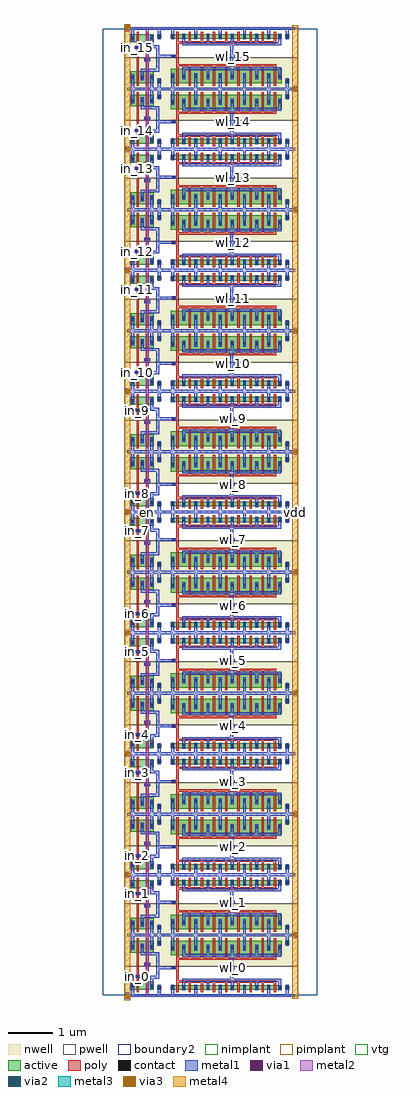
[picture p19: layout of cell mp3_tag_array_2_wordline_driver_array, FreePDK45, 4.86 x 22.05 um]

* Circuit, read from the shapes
.subckt mp3_tag_array_2_wordline_driver_array en gnd in_0 in_1 in_10 in_11 in_12 in_13 in_14 in_15 in_2 in_3 in_4 in_5 in_6 in_7 in_8 in_9 vdd wl_0 wl_1 wl_10 wl_11 wl_12 wl_13 wl_14 wl_15 wl_2 wl_3 wl_4 wl_5 wl_6 wl_7 wl_8 wl_9
M1 mp3_tag_array_2_wordline_driver_0/mp3_tag_array_2_pnand2_0/mp3_tag_array_2_nmos_m1_w0_180_sm1_dactive_2/D in_0 gnd gnd nfet w=0.18u l=0.05u
M2 mp3_tag_array_2_wordline_driver_1/mp3_tag_array_2_pnand2_0/mp3_tag_array_2_nmos_m1_w0_180_sm1_dactive_2/D in_1 gnd gnd nfet w=0.18u l=0.05u
M3 mp3_tag_array_2_wordline_driver_2/mp3_tag_array_2_pnand2_0/mp3_tag_array_2_nmos_m1_w0_180_sm1_dactive_2/D in_2 gnd gnd nfet w=0.18u l=0.05u
M4 mp3_tag_array_2_wordline_driver_3/mp3_tag_array_2_pnand2_0/mp3_tag_array_2_nmos_m1_w0_180_sm1_dactive_2/D in_3 gnd gnd nfet w=0.18u l=0.05u
M5 mp3_tag_array_2_wordline_driver_4/mp3_tag_array_2_pnand2_0/mp3_tag_array_2_nmos_m1_w0_180_sm1_dactive_2/D in_4 gnd gnd nfet w=0.18u l=0.05u
M6 mp3_tag_array_2_wordline_driver_5/mp3_tag_array_2_pnand2_0/mp3_tag_array_2_nmos_m1_w0_180_sm1_dactive_2/D in_5 gnd gnd nfet w=0.18u l=0.05u
M7 mp3_tag_array_2_wordline_driver_6/mp3_tag_array_2_pnand2_0/mp3_tag_array_2_nmos_m1_w0_180_sm1_dactive_2/D in_6 gnd gnd nfet w=0.18u l=0.05u
M8 mp3_tag_array_2_wordline_driver_7/mp3_tag_array_2_pnand2_0/mp3_tag_array_2_nmos_m1_w0_180_sm1_dactive_2/D in_7 gnd gnd nfet w=0.18u l=0.05u
M9 mp3_tag_array_2_wordline_driver_8/mp3_tag_array_2_pnand2_0/mp3_tag_array_2_nmos_m1_w0_180_sm1_dactive_2/D in_8 gnd gnd nfet w=0.18u l=0.05u
M10 mp3_tag_array_2_wordline_driver_9/mp3_tag_array_2_pnand2_0/mp3_tag_array_2_nmos_m1_w0_180_sm1_dactive_2/D in_9 gnd gnd nfet w=0.18u l=0.05u
M11 mp3_tag_array_2_wordline_driver_10/mp3_tag_array_2_pnand2_0/mp3_tag_array_2_nmos_m1_w0_180_sm1_dactive_2/D in_10 gnd gnd nfet w=0.18u l=0.05u
M12 mp3_tag_array_2_wordline_driver_11/mp3_tag_array_2_pnand2_0/mp3_tag_array_2_nmos_m1_w0_180_sm1_dactive_2/D in_11 gnd gnd nfet w=0.18u l=0.05u
M13 mp3_tag_array_2_wordline_driver_12/mp3_tag_array_2_pnand2_0/mp3_tag_array_2_nmos_m1_w0_180_sm1_dactive_2/D in_12 gnd gnd nfet w=0.18u l=0.05u
M14 mp3_tag_array_2_wordline_driver_13/mp3_tag_array_2_pnand2_0/mp3_tag_array_2_nmos_m1_w0_180_sm1_dactive_2/D in_13 gnd gnd nfet w=0.18u l=0.05u
M15 mp3_tag_array_2_wordline_driver_14/mp3_tag_array_2_pnand2_0/mp3_tag_array_2_nmos_m1_w0_180_sm1_dactive_2/D in_14 gnd gnd nfet w=0.18u l=0.05u
M16 mp3_tag_array_2_wordline_driver_15/mp3_tag_array_2_pnand2_0/mp3_tag_array_2_nmos_m1_w0_180_sm1_dactive_2/D in_15 gnd gnd nfet w=0.18u l=0.05u
M17 mp3_tag_array_2_wordline_driver_0/mp3_tag_array_2_pinv_0_1/A en mp3_tag_array_2_wordline_driver_0/mp3_tag_array_2_pnand2_0/mp3_tag_array_2_nmos_m1_w0_180_sm1_dactive_2/D gnd nfet w=0.18u l=0.05u
M18 mp3_tag_array_2_wordline_driver_1/mp3_tag_array_2_pinv_0_1/A en mp3_tag_array_2_wordline_driver_1/mp3_tag_array_2_pnand2_0/mp3_tag_array_2_nmos_m1_w0_180_sm1_dactive_2/D gnd nfet w=0.18u l=0.05u
M19 mp3_tag_array_2_wordline_driver_2/mp3_tag_array_2_pinv_0_1/A en mp3_tag_array_2_wordline_driver_2/mp3_tag_array_2_pnand2_0/mp3_tag_array_2_nmos_m1_w0_180_sm1_dactive_2/D gnd nfet w=0.18u l=0.05u
M20 mp3_tag_array_2_wordline_driver_3/mp3_tag_array_2_pinv_0_1/A en mp3_tag_array_2_wordline_driver_3/mp3_tag_array_2_pnand2_0/mp3_tag_array_2_nmos_m1_w0_180_sm1_dactive_2/D gnd nfet w=0.18u l=0.05u
M21 mp3_tag_array_2_wordline_driver_4/mp3_tag_array_2_pinv_0_1/A en mp3_tag_array_2_wordline_driver_4/mp3_tag_array_2_pnand2_0/mp3_tag_array_2_nmos_m1_w0_180_sm1_dactive_2/D gnd nfet w=0.18u l=0.05u
M22 mp3_tag_array_2_wordline_driver_5/mp3_tag_array_2_pinv_0_1/A en mp3_tag_array_2_wordline_driver_5/mp3_tag_array_2_pnand2_0/mp3_tag_array_2_nmos_m1_w0_180_sm1_dactive_2/D gnd nfet w=0.18u l=0.05u
M23 mp3_tag_array_2_wordline_driver_6/mp3_tag_array_2_pinv_0_1/A en mp3_tag_array_2_wordline_driver_6/mp3_tag_array_2_pnand2_0/mp3_tag_array_2_nmos_m1_w0_180_sm1_dactive_2/D gnd nfet w=0.18u l=0.05u
M24 mp3_tag_array_2_wordline_driver_7/mp3_tag_array_2_pinv_0_1/A en mp3_tag_array_2_wordline_driver_7/mp3_tag_array_2_pnand2_0/mp3_tag_array_2_nmos_m1_w0_180_sm1_dactive_2/D gnd nfet w=0.18u l=0.05u
M25 mp3_tag_array_2_wordline_driver_8/mp3_tag_array_2_pinv_0_1/A en mp3_tag_array_2_wordline_driver_8/mp3_tag_array_2_pnand2_0/mp3_tag_array_2_nmos_m1_w0_180_sm1_dactive_2/D gnd nfet w=0.18u l=0.05u
M26 mp3_tag_array_2_wordline_driver_9/mp3_tag_array_2_pinv_0_1/A en mp3_tag_array_2_wordline_driver_9/mp3_tag_array_2_pnand2_0/mp3_tag_array_2_nmos_m1_w0_180_sm1_dactive_2/D gnd nfet w=0.18u l=0.05u
M27 mp3_tag_array_2_wordline_driver_10/mp3_tag_array_2_pinv_0_1/A en mp3_tag_array_2_wordline_driver_10/mp3_tag_array_2_pnand2_0/mp3_tag_array_2_nmos_m1_w0_180_sm1_dactive_2/D gnd nfet w=0.18u l=0.05u
M28 mp3_tag_array_2_wordline_driver_11/mp3_tag_array_2_pinv_0_1/A en mp3_tag_array_2_wordline_driver_11/mp3_tag_array_2_pnand2_0/mp3_tag_array_2_nmos_m1_w0_180_sm1_dactive_2/D gnd nfet w=0.18u l=0.05u
M29 mp3_tag_array_2_wordline_driver_12/mp3_tag_array_2_pinv_0_1/A en mp3_tag_array_2_wordline_driver_12/mp3_tag_array_2_pnand2_0/mp3_tag_array_2_nmos_m1_w0_180_sm1_dactive_2/D gnd nfet w=0.18u l=0.05u
M30 mp3_tag_array_2_wordline_driver_13/mp3_tag_array_2_pinv_0_1/A en mp3_tag_array_2_wordline_driver_13/mp3_tag_array_2_pnand2_0/mp3_tag_array_2_nmos_m1_w0_180_sm1_dactive_2/D gnd nfet w=0.18u l=0.05u
M31 mp3_tag_array_2_wordline_driver_14/mp3_tag_array_2_pinv_0_1/A en mp3_tag_array_2_wordline_driver_14/mp3_tag_array_2_pnand2_0/mp3_tag_array_2_nmos_m1_w0_180_sm1_dactive_2/D gnd nfet w=0.18u l=0.05u
M32 mp3_tag_array_2_wordline_driver_15/mp3_tag_array_2_pinv_0_1/A en mp3_tag_array_2_wordline_driver_15/mp3_tag_array_2_pnand2_0/mp3_tag_array_2_nmos_m1_w0_180_sm1_dactive_2/D gnd nfet w=0.18u l=0.05u
M33 wl_0 mp3_tag_array_2_wordline_driver_0/mp3_tag_array_2_pinv_0_1/A gnd gnd nfet w=0.11u l=0.05u m=9
M34 wl_1 mp3_tag_array_2_wordline_driver_1/mp3_tag_array_2_pinv_0_1/A gnd gnd nfet w=0.11u l=0.05u m=9
M35 wl_2 mp3_tag_array_2_wordline_driver_2/mp3_tag_array_2_pinv_0_1/A gnd gnd nfet w=0.11u l=0.05u m=9
M36 wl_3 mp3_tag_array_2_wordline_driver_3/mp3_tag_array_2_pinv_0_1/A gnd gnd nfet w=0.11u l=0.05u m=9
M37 wl_4 mp3_tag_array_2_wordline_driver_4/mp3_tag_array_2_pinv_0_1/A gnd gnd nfet w=0.11u l=0.05u m=9
M38 wl_5 mp3_tag_array_2_wordline_driver_5/mp3_tag_array_2_pinv_0_1/A gnd gnd nfet w=0.11u l=0.05u m=9
M39 wl_6 mp3_tag_array_2_wordline_driver_6/mp3_tag_array_2_pinv_0_1/A gnd gnd nfet w=0.11u l=0.05u m=9
M40 wl_7 mp3_tag_array_2_wordline_driver_7/mp3_tag_array_2_pinv_0_1/A gnd gnd nfet w=0.11u l=0.05u m=9
M41 wl_8 mp3_tag_array_2_wordline_driver_8/mp3_tag_array_2_pinv_0_1/A gnd gnd nfet w=0.11u l=0.05u m=9
M42 wl_9 mp3_tag_array_2_wordline_driver_9/mp3_tag_array_2_pinv_0_1/A gnd gnd nfet w=0.11u l=0.05u m=9
M43 wl_10 mp3_tag_array_2_wordline_driver_10/mp3_tag_array_2_pinv_0_1/A gnd gnd nfet w=0.11u l=0.05u m=9
M44 wl_11 mp3_tag_array_2_wordline_driver_11/mp3_tag_array_2_pinv_0_1/A gnd gnd nfet w=0.11u l=0.05u m=9
M45 wl_12 mp3_tag_array_2_wordline_driver_12/mp3_tag_array_2_pinv_0_1/A gnd gnd nfet w=0.11u l=0.05u m=9
M46 wl_13 mp3_tag_array_2_wordline_driver_13/mp3_tag_array_2_pinv_0_1/A gnd gnd nfet w=0.11u l=0.05u m=9
M47 wl_14 mp3_tag_array_2_wordline_driver_14/mp3_tag_array_2_pinv_0_1/A gnd gnd nfet w=0.11u l=0.05u m=9
M48 wl_15 mp3_tag_array_2_wordline_driver_15/mp3_tag_array_2_pinv_0_1/A gnd gnd nfet w=0.11u l=0.05u m=9
M49 mp3_tag_array_2_wordline_driver_0/mp3_tag_array_2_pinv_0_1/A in_0 vdd vdd pfet w=0.27u l=0.05u
M50 mp3_tag_array_2_wordline_driver_1/mp3_tag_array_2_pinv_0_1/A in_1 vdd vdd pfet w=0.27u l=0.05u
M51 mp3_tag_array_2_wordline_driver_2/mp3_tag_array_2_pinv_0_1/A in_2 vdd vdd pfet w=0.27u l=0.05u
M52 mp3_tag_array_2_wordline_driver_3/mp3_tag_array_2_pinv_0_1/A in_3 vdd vdd pfet w=0.27u l=0.05u
M53 mp3_tag_array_2_wordline_driver_4/mp3_tag_array_2_pinv_0_1/A in_4 vdd vdd pfet w=0.27u l=0.05u
M54 mp3_tag_array_2_wordline_driver_5/mp3_tag_array_2_pinv_0_1/A in_5 vdd vdd pfet w=0.27u l=0.05u
M55 mp3_tag_array_2_wordline_driver_6/mp3_tag_array_2_pinv_0_1/A in_6 vdd vdd pfet w=0.27u l=0.05u
M56 mp3_tag_array_2_wordline_driver_7/mp3_tag_array_2_pinv_0_1/A in_7 vdd vdd pfet w=0.27u l=0.05u
M57 mp3_tag_array_2_wordline_driver_8/mp3_tag_array_2_pinv_0_1/A in_8 vdd vdd pfet w=0.27u l=0.05u
M58 mp3_tag_array_2_wordline_driver_9/mp3_tag_array_2_pinv_0_1/A in_9 vdd vdd pfet w=0.27u l=0.05u
M59 mp3_tag_array_2_wordline_driver_10/mp3_tag_array_2_pinv_0_1/A in_10 vdd vdd pfet w=0.27u l=0.05u
M60 mp3_tag_array_2_wordline_driver_11/mp3_tag_array_2_pinv_0_1/A in_11 vdd vdd pfet w=0.27u l=0.05u
M61 mp3_tag_array_2_wordline_driver_12/mp3_tag_array_2_pinv_0_1/A in_12 vdd vdd pfet w=0.27u l=0.05u
M62 mp3_tag_array_2_wordline_driver_13/mp3_tag_array_2_pinv_0_1/A in_13 vdd vdd pfet w=0.27u l=0.05u
M63 mp3_tag_array_2_wordline_driver_14/mp3_tag_array_2_pinv_0_1/A in_14 vdd vdd pfet w=0.27u l=0.05u
M64 mp3_tag_array_2_wordline_driver_15/mp3_tag_array_2_pinv_0_1/A in_15 vdd vdd pfet w=0.27u l=0.05u
M65 vdd en mp3_tag_array_2_wordline_driver_0/mp3_tag_array_2_pinv_0_1/A vdd pfet w=0.27u l=0.05u
M66 vdd en mp3_tag_array_2_wordline_driver_1/mp3_tag_array_2_pinv_0_1/A vdd pfet w=0.27u l=0.05u
M67 vdd en mp3_tag_array_2_wordline_driver_2/mp3_tag_array_2_pinv_0_1/A vdd pfet w=0.27u l=0.05u
M68 vdd en mp3_tag_array_2_wordline_driver_3/mp3_tag_array_2_pinv_0_1/A vdd pfet w=0.27u l=0.05u
M69 vdd en mp3_tag_array_2_wordline_driver_4/mp3_tag_array_2_pinv_0_1/A vdd pfet w=0.27u l=0.05u
M70 vdd en mp3_tag_array_2_wordline_driver_5/mp3_tag_array_2_pinv_0_1/A vdd pfet w=0.27u l=0.05u
M71 vdd en mp3_tag_array_2_wordline_driver_6/mp3_tag_array_2_pinv_0_1/A vdd pfet w=0.27u l=0.05u
M72 vdd en mp3_tag_array_2_wordline_driver_7/mp3_tag_array_2_pinv_0_1/A vdd pfet w=0.27u l=0.05u
M73 vdd en mp3_tag_array_2_wordline_driver_8/mp3_tag_array_2_pinv_0_1/A vdd pfet w=0.27u l=0.05u
M74 vdd en mp3_tag_array_2_wordline_driver_9/mp3_tag_array_2_pinv_0_1/A vdd pfet w=0.27u l=0.05u
M75 vdd en mp3_tag_array_2_wordline_driver_10/mp3_tag_array_2_pinv_0_1/A vdd pfet w=0.27u l=0.05u
M76 vdd en mp3_tag_array_2_wordline_driver_11/mp3_tag_array_2_pinv_0_1/A vdd pfet w=0.27u l=0.05u
M77 vdd en mp3_tag_array_2_wordline_driver_12/mp3_tag_array_2_pinv_0_1/A vdd pfet w=0.27u l=0.05u
M78 vdd en mp3_tag_array_2_wordline_driver_13/mp3_tag_array_2_pinv_0_1/A vdd pfet w=0.27u l=0.05u
M79 vdd en mp3_tag_array_2_wordline_driver_14/mp3_tag_array_2_pinv_0_1/A vdd pfet w=0.27u l=0.05u
M80 vdd en mp3_tag_array_2_wordline_driver_15/mp3_tag_array_2_pinv_0_1/A vdd pfet w=0.27u l=0.05u
M81 wl_0 mp3_tag_array_2_wordline_driver_0/mp3_tag_array_2_pinv_0_1/A vdd vdd pfet w=0.33u l=0.05u m=9
M82 wl_1 mp3_tag_array_2_wordline_driver_1/mp3_tag_array_2_pinv_0_1/A vdd vdd pfet w=0.33u l=0.05u m=9
M83 wl_2 mp3_tag_array_2_wordline_driver_2/mp3_tag_array_2_pinv_0_1/A vdd vdd pfet w=0.33u l=0.05u m=9
M84 wl_3 mp3_tag_array_2_wordline_driver_3/mp3_tag_array_2_pinv_0_1/A vdd vdd pfet w=0.33u l=0.05u m=9
M85 wl_4 mp3_tag_array_2_wordline_driver_4/mp3_tag_array_2_pinv_0_1/A vdd vdd pfet w=0.33u l=0.05u m=9
M86 wl_5 mp3_tag_array_2_wordline_driver_5/mp3_tag_array_2_pinv_0_1/A vdd vdd pfet w=0.33u l=0.05u m=9
M87 wl_6 mp3_tag_array_2_wordline_driver_6/mp3_tag_array_2_pinv_0_1/A vdd vdd pfet w=0.33u l=0.05u m=9
M88 wl_7 mp3_tag_array_2_wordline_driver_7/mp3_tag_array_2_pinv_0_1/A vdd vdd pfet w=0.33u l=0.05u m=9
M89 wl_8 mp3_tag_array_2_wordline_driver_8/mp3_tag_array_2_pinv_0_1/A vdd vdd pfet w=0.33u l=0.05u m=9
M90 wl_9 mp3_tag_array_2_wordline_driver_9/mp3_tag_array_2_pinv_0_1/A vdd vdd pfet w=0.33u l=0.05u m=9
M91 wl_10 mp3_tag_array_2_wordline_driver_10/mp3_tag_array_2_pinv_0_1/A vdd vdd pfet w=0.33u l=0.05u m=9
M92 wl_11 mp3_tag_array_2_wordline_driver_11/mp3_tag_array_2_pinv_0_1/A vdd vdd pfet w=0.33u l=0.05u m=9
M93 wl_12 mp3_tag_array_2_wordline_driver_12/mp3_tag_array_2_pinv_0_1/A vdd vdd pfet w=0.33u l=0.05u m=9
M94 wl_13 mp3_tag_array_2_wordline_driver_13/mp3_tag_array_2_pinv_0_1/A vdd vdd pfet w=0.33u l=0.05u m=9
M95 wl_14 mp3_tag_array_2_wordline_driver_14/mp3_tag_array_2_pinv_0_1/A vdd vdd pfet w=0.33u l=0.05u m=9
M96 wl_15 mp3_tag_array_2_wordline_driver_15/mp3_tag_array_2_pinv_0_1/A vdd vdd pfet w=0.33u l=0.05u m=9
.ends

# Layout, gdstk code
import gdstk
lib = gdstk.Library(unit=1e-6, precision=5e-10)
def R(c, l, rs):  # rectangles x0, y0, x1, y1
    for r in rs: c.add(gdstk.rectangle(r[:2], r[2:], *l))
def A(c, l, x, y, w, h, nx, ny, dx, dy):  # array of equal rectangles
    R(c, l, [(x+i*dx, y+j*dy, x+i*dx+w, y+j*dy+h) for i in range(nx) for j in range(ny)])
active = (1, 0)
pwell = (2, 0)
nwell = (3, 0)
nimplant = (4, 0)
pimplant = (5, 0)
vtg = (6, 0)
poly = (9, 0)
contact = (10, 0)
metal1 = (11, 0)
via1 = (12, 0)
metal2 = (13, 0)
via2 = (14, 0)
metal3 = (15, 0)
via3 = (16, 0)
metal4 = (17, 0)
boundary2 = (239, 0)

mp3_tag_array_2_contact_ = lib.new_cell('mp3_tag_array_2_contact_11')
R(mp3_tag_array_2_contact_, active, [(0,0.0225,0.09,0.1125)])
R(mp3_tag_array_2_contact_, nwell, [(-0.055,-0.0325,0.145,0.1675)])
R(mp3_tag_array_2_contact_, pimplant, [(0,0.0225,0.09,0.1125)])
R(mp3_tag_array_2_contact_, contact, [(0.0125,0.035,0.0775,0.1)])
R(mp3_tag_array_2_contact_, metal1, [(0.0125,0,0.0775,0.135)])
R(mp3_tag_array_2_contact_, boundary2, [(-0.055,-0.0325,0.145,0.1675)])

mp3_tag_array_2_pmos_m1_ = lib.new_cell('mp3_tag_array_2_pmos_m1_w0_270_sm1_dm1')
R(mp3_tag_array_2_pmos_m1_, active, [(0,0,0.305,0.27)])
R(mp3_tag_array_2_pmos_m1_, nwell, [(-0.08,-0.08,0.385,0.35)])
R(mp3_tag_array_2_pmos_m1_, pimplant, [(0,0,0.305,0.27)])
R(mp3_tag_array_2_pmos_m1_, vtg, [(-0.08,-0.08,0.385,0.35)])
R(mp3_tag_array_2_pmos_m1_, poly, [(0.1275,-0.055,0.1775,0.325), (0.1275,-0.055,0.1775,0.325)])
R(mp3_tag_array_2_pmos_m1_, metal1, [(0.0125,0.0675,0.0775,0.2025), (0.2275,0.0675,0.2925,0.2025)])
R(mp3_tag_array_2_pmos_m1_, boundary2, [(-0.08,-0.08,0.385,0.35)])
mp3_tag_array_2_pmos_m1_.add(gdstk.Reference(mp3_tag_array_2_contact_, (0,0.0675)))
mp3_tag_array_2_pmos_m1_.add(gdstk.Reference(mp3_tag_array_2_contact_, (0.215,0.0675)))
mp3_tag_array_2_pmos_m1_.add(gdstk.Label('G', (0.1525,0.135), layer=9, texttype=0))
mp3_tag_array_2_pmos_m1_.add(gdstk.Label('S', (0.045,0.135), layer=11, texttype=0))
mp3_tag_array_2_pmos_m1_.add(gdstk.Label('D', (0.26,0.135), layer=11, texttype=0))

c_mp3_tag_array_2_contact_ = lib.new_cell('mp3_tag_array_2_contact_10')
R(c_mp3_tag_array_2_contact_, active, [(0,0.0225,0.09,0.1125)])
R(c_mp3_tag_array_2_contact_, pwell, [(-0.055,-0.0325,0.145,0.1675)])
R(c_mp3_tag_array_2_contact_, nimplant, [(0,0.0225,0.09,0.1125)])
R(c_mp3_tag_array_2_contact_, contact, [(0.0125,0.035,0.0775,0.1)])
R(c_mp3_tag_array_2_contact_, metal1, [(0.0125,0,0.0775,0.135)])
R(c_mp3_tag_array_2_contact_, boundary2, [(-0.055,-0.0325,0.145,0.1675)])

mp3_tag_array_2_nmos_m1_ = lib.new_cell('mp3_tag_array_2_nmos_m1_w0_180_sm1_dactive')
R(mp3_tag_array_2_nmos_m1_, active, [(0,0,0.305,0.18), (0.215,0.045,0.305,0.135)])
R(mp3_tag_array_2_nmos_m1_, pwell, [(-0.08,-0.08,0.385,0.26)])
R(mp3_tag_array_2_nmos_m1_, nimplant, [(0,0,0.305,0.18)])
R(mp3_tag_array_2_nmos_m1_, vtg, [(-0.08,-0.08,0.385,0.26)])
R(mp3_tag_array_2_nmos_m1_, poly, [(0.1275,-0.055,0.1775,0.235), (0.1275,-0.055,0.1775,0.235)])
R(mp3_tag_array_2_nmos_m1_, metal1, [(0.0125,0.0225,0.0775,0.1575)])
R(mp3_tag_array_2_nmos_m1_, boundary2, [(-0.08,-0.08,0.385,0.26)])
mp3_tag_array_2_nmos_m1_.add(gdstk.Reference(c_mp3_tag_array_2_contact_, (0,0.0225)))
mp3_tag_array_2_nmos_m1_.add(gdstk.Label('G', (0.1525,0.09), layer=9, texttype=0))
mp3_tag_array_2_nmos_m1_.add(gdstk.Label('S', (0.045,0.09), layer=11, texttype=0))
mp3_tag_array_2_nmos_m1_.add(gdstk.Label('D', (0.26,0.09), layer=1, texttype=0))

c_mp3_tag_array_2_nmos_m1_ = lib.new_cell('mp3_tag_array_2_nmos_m1_w0_180_sactive_dm1')
R(c_mp3_tag_array_2_nmos_m1_, active, [(0,0,0.305,0.18), (0,0.045,0.09,0.135)])
R(c_mp3_tag_array_2_nmos_m1_, pwell, [(-0.08,-0.08,0.385,0.26)])
R(c_mp3_tag_array_2_nmos_m1_, nimplant, [(0,0,0.305,0.18)])
R(c_mp3_tag_array_2_nmos_m1_, vtg, [(-0.08,-0.08,0.385,0.26)])
R(c_mp3_tag_array_2_nmos_m1_, poly, [(0.1275,-0.055,0.1775,0.235), (0.1275,-0.055,0.1775,0.235)])
R(c_mp3_tag_array_2_nmos_m1_, metal1, [(0.2275,0.0225,0.2925,0.1575)])
R(c_mp3_tag_array_2_nmos_m1_, boundary2, [(-0.08,-0.08,0.385,0.26)])
c_mp3_tag_array_2_nmos_m1_.add(gdstk.Reference(c_mp3_tag_array_2_contact_, (0.215,0.0225)))
c_mp3_tag_array_2_nmos_m1_.add(gdstk.Label('G', (0.1525,0.09), layer=9, texttype=0))
c_mp3_tag_array_2_nmos_m1_.add(gdstk.Label('S', (0.045,0.09), layer=1, texttype=0))
c_mp3_tag_array_2_nmos_m1_.add(gdstk.Label('D', (0.26,0.09), layer=11, texttype=0))

c_mp3_tag_array_2_contact__ = lib.new_cell('mp3_tag_array_2_contact_12')
R(c_mp3_tag_array_2_contact__, active, [(0,0.0225,0.09,0.1125)])
R(c_mp3_tag_array_2_contact__, nwell, [(-0.055,-0.0325,0.145,0.1675)])
R(c_mp3_tag_array_2_contact__, nimplant, [(0,0.0225,0.09,0.1125)])
R(c_mp3_tag_array_2_contact__, contact, [(0.0125,0.035,0.0775,0.1)])
R(c_mp3_tag_array_2_contact__, metal1, [(0.0125,0,0.0775,0.135)])
R(c_mp3_tag_array_2_contact__, boundary2, [(-0.055,-0.0325,0.145,0.1675)])

c_mp3_tag_array_2_contact___ = lib.new_cell('mp3_tag_array_2_contact_13')
R(c_mp3_tag_array_2_contact___, active, [(0,0.0225,0.09,0.1125)])
R(c_mp3_tag_array_2_contact___, pwell, [(-0.055,-0.0325,0.145,0.1675)])
R(c_mp3_tag_array_2_contact___, pimplant, [(0,0.0225,0.09,0.1125)])
R(c_mp3_tag_array_2_contact___, contact, [(0.0125,0.035,0.0775,0.1)])
R(c_mp3_tag_array_2_contact___, metal1, [(0.0125,0,0.0775,0.135)])
R(c_mp3_tag_array_2_contact___, boundary2, [(-0.055,-0.0325,0.145,0.1675)])

c_mp3_tag_array_2_contact____ = lib.new_cell('mp3_tag_array_2_contact_14')
R(c_mp3_tag_array_2_contact____, poly, [(0.03,0,0.105,0.075)])
R(c_mp3_tag_array_2_contact____, contact, [(0.035,0.005,0.1,0.07)])
R(c_mp3_tag_array_2_contact____, metal1, [(0,0.005,0.135,0.07)])
R(c_mp3_tag_array_2_contact____, boundary2, [(0,0,0.135,0.075)])

mp3_tag_array_2_pnand2 = lib.new_cell('mp3_tag_array_2_pnand2')
R(mp3_tag_array_2_pnand2, pwell, [(-0.055,-0.0325,0.9575,0.655)])
R(mp3_tag_array_2_pnand2, nwell, [(-0.055,0.655,0.9575,1.4)])
R(mp3_tag_array_2_pnand2, vtg, [(-0.055,-0.0325,0.9575,0.655), (-0.055,0.655,0.9575,1.4)])
R(mp3_tag_array_2_pnand2, poly, [(0.2075,0.36,0.2575,0.915), (0.4225,0.36,0.4725,0.915), (0.2075,0.39,0.2325,0.465), (0.4225,0.67,0.4475,0.745)])
R(mp3_tag_array_2_pnand2, metal1, [(0,-0.0325,0.9025,0.0325), (0.0925,-0.0325,0.1575,0.1475), (0.6925,0,0.7575,0.17), (0.5225,0.2825,0.5875,0.4125), (0.5225,0.38,0.5875,0.445), (0.555,0.38,0.685,0.445), (0.6525,0.38,0.7175,0.445), (0.165,0.395,0.3,0.46), (0.6525,0.4125,0.7175,0.94), (0.38,0.675,0.515,0.74), (0.3075,0.9075,0.3725,0.9725), (0.34,0.9075,0.685,0.9725), (0.6525,0.9075,0.7175,0.9725), (0.3075,0.94,0.3725,1.0375), (0.0925,1.0375,0.1575,1.3975), (0.5225,1.0375,0.5875,1.3975), (0.6925,1.195,0.7575,1.365), (0,1.3325,0.9025,1.3975)])
R(mp3_tag_array_2_pnand2, boundary2, [(0,0,0.9025,1.365), (0,0,0.9025,1.365)])
mp3_tag_array_2_pnand2.add(gdstk.Reference(mp3_tag_array_2_pmos_m1_, (0.08,0.97)))
mp3_tag_array_2_pnand2.add(gdstk.Reference(mp3_tag_array_2_pmos_m1_, (0.295,0.97)))
mp3_tag_array_2_pnand2.add(gdstk.Reference(mp3_tag_array_2_nmos_m1_, (0.08,0.125)))
mp3_tag_array_2_pnand2.add(gdstk.Reference(c_mp3_tag_array_2_nmos_m1_, (0.295,0.125)))
mp3_tag_array_2_pnand2.add(gdstk.Reference(c_mp3_tag_array_2_contact__, (0.68,1.1275)))
mp3_tag_array_2_pnand2.add(gdstk.Reference(c_mp3_tag_array_2_contact___, (0.68,0.1025)))
mp3_tag_array_2_pnand2.add(gdstk.Reference(c_mp3_tag_array_2_contact____, (0.165,0.39)))
mp3_tag_array_2_pnand2.add(gdstk.Reference(c_mp3_tag_array_2_contact____, (0.38,0.67)))
mp3_tag_array_2_pnand2.add(gdstk.Label('Z', (0.685,0.94), layer=11, texttype=0))
mp3_tag_array_2_pnand2.add(gdstk.Label('gnd', (0.451,0), layer=11, texttype=0))
mp3_tag_array_2_pnand2.add(gdstk.Label('vdd', (0.451,1.365), layer=11, texttype=0))
mp3_tag_array_2_pnand2.add(gdstk.Label('A', (0.2325,0.4275), layer=11, texttype=0))
mp3_tag_array_2_pnand2.add(gdstk.Label('B', (0.4475,0.7075), layer=11, texttype=0))

mp3_tag_array_2_pmos_m9_ = lib.new_cell('mp3_tag_array_2_pmos_m9_w0_330_sm1_dm1_da_p')
R(mp3_tag_array_2_pmos_m9_, active, [(0,0,2.505,0.33)])
R(mp3_tag_array_2_pmos_m9_, nwell, [(-0.08,-0.08,2.585,0.41)])
R(mp3_tag_array_2_pmos_m9_, pimplant, [(0,0,2.505,0.33)])
R(mp3_tag_array_2_pmos_m9_, vtg, [(-0.08,-0.08,2.585,0.41)])
A(mp3_tag_array_2_pmos_m9_, poly, 0.1275, -0.055, 0.05, 0.44, 9, 1, 0.275, 0)
R(mp3_tag_array_2_pmos_m9_, poly, [(0.1275,-0.105,2.3775,-0.055)])
A(mp3_tag_array_2_pmos_m9_, metal1, 0.2575, 0, 0.065, 0.165, 4, 1, 0.55, 0)
A(mp3_tag_array_2_pmos_m9_, metal1, 0.5325, 0.0975, 0.065, 0.135, 4, 1, 0.55, 0)
R(mp3_tag_array_2_pmos_m9_, metal1, [(0.2575,-0.0325,2.4925,0.0325), (2.4275,0,2.4925,0.165), (0.0125,0.0975,0.0775,0.2325)])
R(mp3_tag_array_2_pmos_m9_, boundary2, [(-0.08,-0.105,2.585,0.41)])
mp3_tag_array_2_pmos_m9_.add(gdstk.Reference(mp3_tag_array_2_contact_, (0,0.0975)))
mp3_tag_array_2_pmos_m9_.add(gdstk.Reference(mp3_tag_array_2_contact_, (0.245,0.0975)))
mp3_tag_array_2_pmos_m9_.add(gdstk.Reference(mp3_tag_array_2_contact_, (0.52,0.0975)))
mp3_tag_array_2_pmos_m9_.add(gdstk.Reference(mp3_tag_array_2_contact_, (0.795,0.0975)))
mp3_tag_array_2_pmos_m9_.add(gdstk.Reference(mp3_tag_array_2_contact_, (1.07,0.0975)))
mp3_tag_array_2_pmos_m9_.add(gdstk.Reference(mp3_tag_array_2_contact_, (1.345,0.0975)))
mp3_tag_array_2_pmos_m9_.add(gdstk.Reference(mp3_tag_array_2_contact_, (1.62,0.0975)))
mp3_tag_array_2_pmos_m9_.add(gdstk.Reference(mp3_tag_array_2_contact_, (1.895,0.0975)))
mp3_tag_array_2_pmos_m9_.add(gdstk.Reference(mp3_tag_array_2_contact_, (2.17,0.0975)))
mp3_tag_array_2_pmos_m9_.add(gdstk.Reference(mp3_tag_array_2_contact_, (2.415,0.0975)))
mp3_tag_array_2_pmos_m9_.add(gdstk.Label('G', (1.2525,-0.08), layer=9, texttype=0))
mp3_tag_array_2_pmos_m9_.add(gdstk.Label('S', (2.215,0.165), layer=11, texttype=0))
mp3_tag_array_2_pmos_m9_.add(gdstk.Label('S', (0.565,0.165), layer=11, texttype=0))
mp3_tag_array_2_pmos_m9_.add(gdstk.Label('S', (1.665,0.165), layer=11, texttype=0))
mp3_tag_array_2_pmos_m9_.add(gdstk.Label('S', (1.115,0.165), layer=11, texttype=0))
mp3_tag_array_2_pmos_m9_.add(gdstk.Label('S', (0.045,0.165), layer=11, texttype=0))
mp3_tag_array_2_pmos_m9_.add(gdstk.Label('D', (1.375,0), layer=11, texttype=0))

mp3_tag_array_2_nmos_m9_ = lib.new_cell('mp3_tag_array_2_nmos_m9_w0_110_sm1_dm1_da_p')
R(mp3_tag_array_2_nmos_m9_, active, [(0,0,2.505,0.11)])
R(mp3_tag_array_2_nmos_m9_, pwell, [(-0.08,-0.08,2.585,0.19)])
R(mp3_tag_array_2_nmos_m9_, nimplant, [(0,0,2.505,0.11)])
R(mp3_tag_array_2_nmos_m9_, vtg, [(-0.08,-0.08,2.585,0.19)])
A(mp3_tag_array_2_nmos_m9_, poly, 0.1275, -0.055, 0.05, 0.22, 9, 1, 0.275, 0)
R(mp3_tag_array_2_nmos_m9_, poly, [(0.1275,0.165,2.3775,0.215)])
A(mp3_tag_array_2_nmos_m9_, metal1, 0.5325, -0.0125, 0.065, 0.135, 4, 1, 0.55, 0)
A(mp3_tag_array_2_nmos_m9_, metal1, 0.2575, 0.055, 0.065, 0.165, 4, 1, 0.55, 0)
R(mp3_tag_array_2_nmos_m9_, metal1, [(0.0125,-0.0125,0.0775,0.1225), (2.4275,0.055,2.4925,0.22), (0.2575,0.1875,2.4925,0.2525)])
R(mp3_tag_array_2_nmos_m9_, boundary2, [(-0.08,-0.08,2.585,0.2525)])
mp3_tag_array_2_nmos_m9_.add(gdstk.Reference(c_mp3_tag_array_2_contact_, (0,-0.0125)))
mp3_tag_array_2_nmos_m9_.add(gdstk.Reference(c_mp3_tag_array_2_contact_, (0.245,-0.0125)))
mp3_tag_array_2_nmos_m9_.add(gdstk.Reference(c_mp3_tag_array_2_contact_, (0.52,-0.0125)))
mp3_tag_array_2_nmos_m9_.add(gdstk.Reference(c_mp3_tag_array_2_contact_, (0.795,-0.0125)))
mp3_tag_array_2_nmos_m9_.add(gdstk.Reference(c_mp3_tag_array_2_contact_, (1.07,-0.0125)))
mp3_tag_array_2_nmos_m9_.add(gdstk.Reference(c_mp3_tag_array_2_contact_, (1.345,-0.0125)))
mp3_tag_array_2_nmos_m9_.add(gdstk.Reference(c_mp3_tag_array_2_contact_, (1.62,-0.0125)))
mp3_tag_array_2_nmos_m9_.add(gdstk.Reference(c_mp3_tag_array_2_contact_, (1.895,-0.0125)))
mp3_tag_array_2_nmos_m9_.add(gdstk.Reference(c_mp3_tag_array_2_contact_, (2.17,-0.0125)))
mp3_tag_array_2_nmos_m9_.add(gdstk.Reference(c_mp3_tag_array_2_contact_, (2.415,-0.0125)))
mp3_tag_array_2_nmos_m9_.add(gdstk.Label('G', (1.2525,0.19), layer=9, texttype=0))
mp3_tag_array_2_nmos_m9_.add(gdstk.Label('S', (0.045,0.055), layer=11, texttype=0))
mp3_tag_array_2_nmos_m9_.add(gdstk.Label('S', (1.115,0.055), layer=11, texttype=0))
mp3_tag_array_2_nmos_m9_.add(gdstk.Label('S', (2.215,0.055), layer=11, texttype=0))
mp3_tag_array_2_nmos_m9_.add(gdstk.Label('S', (1.665,0.055), layer=11, texttype=0))
mp3_tag_array_2_nmos_m9_.add(gdstk.Label('S', (0.565,0.055), layer=11, texttype=0))
mp3_tag_array_2_nmos_m9_.add(gdstk.Label('D', (1.375,0.22), layer=11, texttype=0))

mp3_tag_array_2_pinv_0 = lib.new_cell('mp3_tag_array_2_pinv_0')
R(mp3_tag_array_2_pinv_0, pwell, [(-0.055,-0.0325,2.9425,0.655)])
R(mp3_tag_array_2_pinv_0, nwell, [(-0.055,0.655,2.9425,1.4)])
R(mp3_tag_array_2_pinv_0, vtg, [(-0.055,-0.0325,2.9425,0.655), (-0.055,0.655,2.9425,1.4)])
R(mp3_tag_array_2_pinv_0, poly, [(0.2075,0.34,0.2575,0.805), (0.14,0.59,0.2075,0.665)])
A(mp3_tag_array_2_pinv_0, metal1, 0.6125, -0.0325, 0.065, 0.145, 4, 1, 0.55, 0)
A(mp3_tag_array_2_pinv_0, metal1, 0.6125, 1.0075, 0.065, 0.39, 4, 1, 0.55, 0)
R(mp3_tag_array_2_pinv_0, metal1, [(0,-0.0325,2.8875,0.0325), (0.0925,-0.0325,0.1575,0.1125), (2.6775,0,2.7425,0.17), (1.4225,0.3125,1.4875,0.9425), (0.0725,0.595,0.2075,0.66), (1.455,0.595,1.52,0.66), (0.0925,1.0075,0.1575,1.3975), (2.6775,1.195,2.7425,1.365), (0,1.3325,2.8875,1.3975)])
R(mp3_tag_array_2_pinv_0, boundary2, [(0,0,2.8875,1.365), (0,0,2.8875,1.365)])
mp3_tag_array_2_pinv_0.add(gdstk.Reference(mp3_tag_array_2_pmos_m9_, (0.08,0.91)))
mp3_tag_array_2_pinv_0.add(gdstk.Reference(mp3_tag_array_2_nmos_m9_, (0.08,0.125)))
mp3_tag_array_2_pinv_0.add(gdstk.Reference(c_mp3_tag_array_2_contact__, (2.665,1.1275)))
mp3_tag_array_2_pinv_0.add(gdstk.Reference(c_mp3_tag_array_2_contact___, (2.665,0.1025)))
mp3_tag_array_2_pinv_0.add(gdstk.Reference(c_mp3_tag_array_2_contact____, (0.0725,0.59)))
mp3_tag_array_2_pinv_0.add(gdstk.Label('A', (0.14,0.6275), layer=11, texttype=0))
mp3_tag_array_2_pinv_0.add(gdstk.Label('Z', (1.4875,0.6275), layer=11, texttype=0))
mp3_tag_array_2_pinv_0.add(gdstk.Label('gnd', (1.444,0), layer=11, texttype=0))
mp3_tag_array_2_pinv_0.add(gdstk.Label('vdd', (1.444,1.365), layer=11, texttype=0))

mp3_tag_array_2_wordline = lib.new_cell('mp3_tag_array_2_wordline_driver')
R(mp3_tag_array_2_wordline, metal1, [(0,-0.0325,3.79,0.0325), (0.165,0.395,0.3,0.46), (0.6525,0.595,0.7175,0.66), (0.685,0.595,1.0425,0.66), (2.3575,0.595,2.4225,0.66), (0.6525,0.6275,0.7175,0.94), (0.38,0.675,0.515,0.74), (0,1.3325,3.79,1.3975)])
R(mp3_tag_array_2_wordline, boundary2, [(0,0,3.79,1.365)])
mp3_tag_array_2_wordline.add(gdstk.Reference(mp3_tag_array_2_pnand2, (0,0)))
mp3_tag_array_2_wordline.add(gdstk.Reference(mp3_tag_array_2_pinv_0, (0.9025,0)))
mp3_tag_array_2_wordline.add(gdstk.Label('Z', (2.39,0.6275), layer=11, texttype=0))
mp3_tag_array_2_wordline.add(gdstk.Label('A', (0.2325,0.4275), layer=11, texttype=0))
mp3_tag_array_2_wordline.add(gdstk.Label('B', (0.4475,0.7075), layer=11, texttype=0))
mp3_tag_array_2_wordline.add(gdstk.Label('gnd', (1.895,0), layer=11, texttype=0))
mp3_tag_array_2_wordline.add(gdstk.Label('vdd', (1.895,1.365), layer=11, texttype=0))

c_mp3_tag_array_2_contact_____ = lib.new_cell('mp3_tag_array_2_contact_17')
R(c_mp3_tag_array_2_contact_____, metal1, [(0,0.035,0.135,0.1)])
R(c_mp3_tag_array_2_contact_____, via1, [(0.035,0.035,0.1,0.1)])
R(c_mp3_tag_array_2_contact_____, metal2, [(0.0325,0,0.1025,0.135)])
R(c_mp3_tag_array_2_contact_____, boundary2, [(0,0,0.135,0.135)])

c_mp3_tag_array_2_contact______ = lib.new_cell('mp3_tag_array_2_contact_18')
R(c_mp3_tag_array_2_contact______, metal2, [(0.0325,0,0.1025,0.135)])
R(c_mp3_tag_array_2_contact______, via2, [(0.035,0.035,0.1,0.1)])
R(c_mp3_tag_array_2_contact______, metal3, [(0,0.0325,0.135,0.1025)])
R(c_mp3_tag_array_2_contact______, boundary2, [(0,0,0.135,0.135)])

c_mp3_tag_array_2_contact_______ = lib.new_cell('mp3_tag_array_2_contact_21')
R(c_mp3_tag_array_2_contact_______, metal3, [(0,0.035,0.14,0.105)])
R(c_mp3_tag_array_2_contact_______, via3, [(0.035,0.035,0.105,0.105)])
R(c_mp3_tag_array_2_contact_______, metal4, [(0,0,0.14,0.14)])
R(c_mp3_tag_array_2_contact_______, boundary2, [(0,0,0.14,0.14)])

c_mp3_tag_array_2_wordline = lib.new_cell('mp3_tag_array_2_wordline_driver_array')
R(c_mp3_tag_array_2_wordline, metal1, [(0.725,0.395,0.86,0.46), (2.9175,0.595,2.9825,0.66), (2.9175,2.07,2.9825,2.135), (0.725,2.27,0.86,2.335), (0.725,3.125,0.86,3.19), (2.9175,3.325,2.9825,3.39), (2.9175,4.8,2.9825,4.865), (0.725,5,0.86,5.065), (0.725,5.855,0.86,5.92), (2.9175,6.055,2.9825,6.12), (2.9175,7.53,2.9825,7.595), (0.725,7.73,0.86,7.795), (0.725,8.585,0.86,8.65), (2.9175,8.785,2.9825,8.85), (2.9175,10.26,2.9825,10.325), (0.725,10.46,0.86,10.525), (0.725,11.315,0.86,11.38), (2.9175,11.515,2.9825,11.58), (2.9175,12.99,2.9825,13.055), (0.725,13.19,0.86,13.255), (0.725,14.045,0.86,14.11), (2.9175,14.245,2.9825,14.31), (2.9175,15.72,2.9825,15.785), (0.725,15.92,0.86,15.985), (0.725,16.775,0.86,16.84), (2.9175,16.975,2.9825,17.04), (2.9175,18.45,2.9825,18.515), (0.725,18.65,0.86,18.715), (0.725,19.505,0.86,19.57), (2.9175,19.705,2.9825,19.77), (2.9175,21.18,2.9825,21.245), (0.725,21.38,0.86,21.445)])
R(c_mp3_tag_array_2_wordline, metal2, [(0.9725,0,1.0425,21.84)])
R(c_mp3_tag_array_2_wordline, metal4, [(0.49,-0.1025,0.63,21.9425), (4.28,-0.07,4.42,21.91)])
R(c_mp3_tag_array_2_wordline, boundary2, [(0,0,4.855,21.84)])
c_mp3_tag_array_2_wordline.add(gdstk.Reference(mp3_tag_array_2_wordline, (0.56,0)))
c_mp3_tag_array_2_wordline.add(gdstk.Reference(mp3_tag_array_2_wordline, (0.56,2.73), x_reflection=True))
c_mp3_tag_array_2_wordline.add(gdstk.Reference(mp3_tag_array_2_wordline, (0.56,2.73)))
c_mp3_tag_array_2_wordline.add(gdstk.Reference(mp3_tag_array_2_wordline, (0.56,5.46), x_reflection=True))
c_mp3_tag_array_2_wordline.add(gdstk.Reference(mp3_tag_array_2_wordline, (0.56,5.46)))
c_mp3_tag_array_2_wordline.add(gdstk.Reference(mp3_tag_array_2_wordline, (0.56,8.19), x_reflection=True))
c_mp3_tag_array_2_wordline.add(gdstk.Reference(mp3_tag_array_2_wordline, (0.56,8.19)))
c_mp3_tag_array_2_wordline.add(gdstk.Reference(mp3_tag_array_2_wordline, (0.56,10.92), x_reflection=True))
c_mp3_tag_array_2_wordline.add(gdstk.Reference(mp3_tag_array_2_wordline, (0.56,10.92)))
c_mp3_tag_array_2_wordline.add(gdstk.Reference(mp3_tag_array_2_wordline, (0.56,13.65), x_reflection=True))
c_mp3_tag_array_2_wordline.add(gdstk.Reference(mp3_tag_array_2_wordline, (0.56,13.65)))
c_mp3_tag_array_2_wordline.add(gdstk.Reference(mp3_tag_array_2_wordline, (0.56,16.38), x_reflection=True))
c_mp3_tag_array_2_wordline.add(gdstk.Reference(mp3_tag_array_2_wordline, (0.56,16.38)))
c_mp3_tag_array_2_wordline.add(gdstk.Reference(mp3_tag_array_2_wordline, (0.56,19.11), x_reflection=True))
c_mp3_tag_array_2_wordline.add(gdstk.Reference(mp3_tag_array_2_wordline, (0.56,19.11)))
c_mp3_tag_array_2_wordline.add(gdstk.Reference(mp3_tag_array_2_wordline, (0.56,21.84), x_reflection=True))
c_mp3_tag_array_2_wordline.add(gdstk.Reference(c_mp3_tag_array_2_contact_____, (0.94,0.64)))
c_mp3_tag_array_2_wordline.add(gdstk.Reference(c_mp3_tag_array_2_contact_____, (0.94,1.955)))
c_mp3_tag_array_2_wordline.add(gdstk.Reference(c_mp3_tag_array_2_contact_____, (0.94,3.37)))
c_mp3_tag_array_2_wordline.add(gdstk.Reference(c_mp3_tag_array_2_contact_____, (0.94,4.685)))
c_mp3_tag_array_2_wordline.add(gdstk.Reference(c_mp3_tag_array_2_contact_____, (0.94,6.1)))
c_mp3_tag_array_2_wordline.add(gdstk.Reference(c_mp3_tag_array_2_contact_____, (0.94,7.415)))
c_mp3_tag_array_2_wordline.add(gdstk.Reference(c_mp3_tag_array_2_contact_____, (0.94,8.83)))
c_mp3_tag_array_2_wordline.add(gdstk.Reference(c_mp3_tag_array_2_contact_____, (0.94,10.145)))
c_mp3_tag_array_2_wordline.add(gdstk.Reference(c_mp3_tag_array_2_contact_____, (0.94,11.56)))
c_mp3_tag_array_2_wordline.add(gdstk.Reference(c_mp3_tag_array_2_contact_____, (0.94,12.875)))
c_mp3_tag_array_2_wordline.add(gdstk.Reference(c_mp3_tag_array_2_contact_____, (0.94,14.29)))
c_mp3_tag_array_2_wordline.add(gdstk.Reference(c_mp3_tag_array_2_contact_____, (0.94,15.605)))
c_mp3_tag_array_2_wordline.add(gdstk.Reference(c_mp3_tag_array_2_contact_____, (0.94,17.02)))
c_mp3_tag_array_2_wordline.add(gdstk.Reference(c_mp3_tag_array_2_contact_____, (0.94,18.335)))
c_mp3_tag_array_2_wordline.add(gdstk.Reference(c_mp3_tag_array_2_contact_____, (0.94,19.75)))
c_mp3_tag_array_2_wordline.add(gdstk.Reference(c_mp3_tag_array_2_contact_____, (0.94,21.065)))
c_mp3_tag_array_2_wordline.add(gdstk.Reference(c_mp3_tag_array_2_contact_____, (4.2825,1.2975)))
c_mp3_tag_array_2_wordline.add(gdstk.Reference(c_mp3_tag_array_2_contact______, (4.2825,1.2975)))
c_mp3_tag_array_2_wordline.add(gdstk.Reference(c_mp3_tag_array_2_contact_______, (4.28,1.295)))
c_mp3_tag_array_2_wordline.add(gdstk.Reference(c_mp3_tag_array_2_contact_____, (4.2825,1.2975)))
c_mp3_tag_array_2_wordline.add(gdstk.Reference(c_mp3_tag_array_2_contact______, (4.2825,1.2975)))
c_mp3_tag_array_2_wordline.add(gdstk.Reference(c_mp3_tag_array_2_contact_______, (4.28,1.295)))
c_mp3_tag_array_2_wordline.add(gdstk.Reference(c_mp3_tag_array_2_contact_____, (4.2825,4.0275)))
c_mp3_tag_array_2_wordline.add(gdstk.Reference(c_mp3_tag_array_2_contact______, (4.2825,4.0275)))
c_mp3_tag_array_2_wordline.add(gdstk.Reference(c_mp3_tag_array_2_contact_______, (4.28,4.025)))
c_mp3_tag_array_2_wordline.add(gdstk.Reference(c_mp3_tag_array_2_contact_____, (4.2825,4.0275)))
c_mp3_tag_array_2_wordline.add(gdstk.Reference(c_mp3_tag_array_2_contact______, (4.2825,4.0275)))
c_mp3_tag_array_2_wordline.add(gdstk.Reference(c_mp3_tag_array_2_contact_______, (4.28,4.025)))
c_mp3_tag_array_2_wordline.add(gdstk.Reference(c_mp3_tag_array_2_contact_____, (4.2825,6.7575)))
c_mp3_tag_array_2_wordline.add(gdstk.Reference(c_mp3_tag_array_2_contact______, (4.2825,6.7575)))
c_mp3_tag_array_2_wordline.add(gdstk.Reference(c_mp3_tag_array_2_contact_______, (4.28,6.755)))
c_mp3_tag_array_2_wordline.add(gdstk.Reference(c_mp3_tag_array_2_contact_____, (4.2825,6.7575)))
c_mp3_tag_array_2_wordline.add(gdstk.Reference(c_mp3_tag_array_2_contact______, (4.2825,6.7575)))
c_mp3_tag_array_2_wordline.add(gdstk.Reference(c_mp3_tag_array_2_contact_______, (4.28,6.755)))
c_mp3_tag_array_2_wordline.add(gdstk.Reference(c_mp3_tag_array_2_contact_____, (4.2825,9.4875)))
c_mp3_tag_array_2_wordline.add(gdstk.Reference(c_mp3_tag_array_2_contact______, (4.2825,9.4875)))
c_mp3_tag_array_2_wordline.add(gdstk.Reference(c_mp3_tag_array_2_contact_______, (4.28,9.485)))
c_mp3_tag_array_2_wordline.add(gdstk.Reference(c_mp3_tag_array_2_contact_____, (4.2825,9.4875)))
c_mp3_tag_array_2_wordline.add(gdstk.Reference(c_mp3_tag_array_2_contact______, (4.2825,9.4875)))
c_mp3_tag_array_2_wordline.add(gdstk.Reference(c_mp3_tag_array_2_contact_______, (4.28,9.485)))
c_mp3_tag_array_2_wordline.add(gdstk.Reference(c_mp3_tag_array_2_contact_____, (4.2825,12.2175)))
c_mp3_tag_array_2_wordline.add(gdstk.Reference(c_mp3_tag_array_2_contact______, (4.2825,12.2175)))
c_mp3_tag_array_2_wordline.add(gdstk.Reference(c_mp3_tag_array_2_contact_______, (4.28,12.215)))
c_mp3_tag_array_2_wordline.add(gdstk.Reference(c_mp3_tag_array_2_contact_____, (4.2825,12.2175)))
c_mp3_tag_array_2_wordline.add(gdstk.Reference(c_mp3_tag_array_2_contact______, (4.2825,12.2175)))
c_mp3_tag_array_2_wordline.add(gdstk.Reference(c_mp3_tag_array_2_contact_______, (4.28,12.215)))
c_mp3_tag_array_2_wordline.add(gdstk.Reference(c_mp3_tag_array_2_contact_____, (4.2825,14.9475)))
c_mp3_tag_array_2_wordline.add(gdstk.Reference(c_mp3_tag_array_2_contact______, (4.2825,14.9475)))
c_mp3_tag_array_2_wordline.add(gdstk.Reference(c_mp3_tag_array_2_contact_______, (4.28,14.945)))
c_mp3_tag_array_2_wordline.add(gdstk.Reference(c_mp3_tag_array_2_contact_____, (4.2825,14.9475)))
c_mp3_tag_array_2_wordline.add(gdstk.Reference(c_mp3_tag_array_2_contact______, (4.2825,14.9475)))
c_mp3_tag_array_2_wordline.add(gdstk.Reference(c_mp3_tag_array_2_contact_______, (4.28,14.945)))
c_mp3_tag_array_2_wordline.add(gdstk.Reference(c_mp3_tag_array_2_contact_____, (4.2825,17.6775)))
c_mp3_tag_array_2_wordline.add(gdstk.Reference(c_mp3_tag_array_2_contact______, (4.2825,17.6775)))
c_mp3_tag_array_2_wordline.add(gdstk.Reference(c_mp3_tag_array_2_contact_______, (4.28,17.675)))
c_mp3_tag_array_2_wordline.add(gdstk.Reference(c_mp3_tag_array_2_contact_____, (4.2825,17.6775)))
c_mp3_tag_array_2_wordline.add(gdstk.Reference(c_mp3_tag_array_2_contact______, (4.2825,17.6775)))
c_mp3_tag_array_2_wordline.add(gdstk.Reference(c_mp3_tag_array_2_contact_______, (4.28,17.675)))
c_mp3_tag_array_2_wordline.add(gdstk.Reference(c_mp3_tag_array_2_contact_____, (4.2825,20.4075)))
c_mp3_tag_array_2_wordline.add(gdstk.Reference(c_mp3_tag_array_2_contact______, (4.2825,20.4075)))
c_mp3_tag_array_2_wordline.add(gdstk.Reference(c_mp3_tag_array_2_contact_______, (4.28,20.405)))
c_mp3_tag_array_2_wordline.add(gdstk.Reference(c_mp3_tag_array_2_contact_____, (4.2825,20.4075)))
c_mp3_tag_array_2_wordline.add(gdstk.Reference(c_mp3_tag_array_2_contact______, (4.2825,20.4075)))
c_mp3_tag_array_2_wordline.add(gdstk.Reference(c_mp3_tag_array_2_contact_______, (4.28,20.405)))
c_mp3_tag_array_2_wordline.add(gdstk.Reference(c_mp3_tag_array_2_contact_____, (0.4925,-0.0675)))
c_mp3_tag_array_2_wordline.add(gdstk.Reference(c_mp3_tag_array_2_contact______, (0.4925,-0.0675)))
c_mp3_tag_array_2_wordline.add(gdstk.Reference(c_mp3_tag_array_2_contact_______, (0.49,-0.07)))
c_mp3_tag_array_2_wordline.add(gdstk.Reference(c_mp3_tag_array_2_contact_____, (0.4925,2.6625)))
c_mp3_tag_array_2_wordline.add(gdstk.Reference(c_mp3_tag_array_2_contact______, (0.4925,2.6625)))
c_mp3_tag_array_2_wordline.add(gdstk.Reference(c_mp3_tag_array_2_contact_______, (0.49,2.66)))
c_mp3_tag_array_2_wordline.add(gdstk.Reference(c_mp3_tag_array_2_contact_____, (0.4925,2.6625)))
c_mp3_tag_array_2_wordline.add(gdstk.Reference(c_mp3_tag_array_2_contact______, (0.4925,2.6625)))
c_mp3_tag_array_2_wordline.add(gdstk.Reference(c_mp3_tag_array_2_contact_______, (0.49,2.66)))
c_mp3_tag_array_2_wordline.add(gdstk.Reference(c_mp3_tag_array_2_contact_____, (0.4925,5.3925)))
c_mp3_tag_array_2_wordline.add(gdstk.Reference(c_mp3_tag_array_2_contact______, (0.4925,5.3925)))
c_mp3_tag_array_2_wordline.add(gdstk.Reference(c_mp3_tag_array_2_contact_______, (0.49,5.39)))
c_mp3_tag_array_2_wordline.add(gdstk.Reference(c_mp3_tag_array_2_contact_____, (0.4925,5.3925)))
c_mp3_tag_array_2_wordline.add(gdstk.Reference(c_mp3_tag_array_2_contact______, (0.4925,5.3925)))
c_mp3_tag_array_2_wordline.add(gdstk.Reference(c_mp3_tag_array_2_contact_______, (0.49,5.39)))
c_mp3_tag_array_2_wordline.add(gdstk.Reference(c_mp3_tag_array_2_contact_____, (0.4925,8.1225)))
c_mp3_tag_array_2_wordline.add(gdstk.Reference(c_mp3_tag_array_2_contact______, (0.4925,8.1225)))
c_mp3_tag_array_2_wordline.add(gdstk.Reference(c_mp3_tag_array_2_contact_______, (0.49,8.12)))
c_mp3_tag_array_2_wordline.add(gdstk.Reference(c_mp3_tag_array_2_contact_____, (0.4925,8.1225)))
c_mp3_tag_array_2_wordline.add(gdstk.Reference(c_mp3_tag_array_2_contact______, (0.4925,8.1225)))
c_mp3_tag_array_2_wordline.add(gdstk.Reference(c_mp3_tag_array_2_contact_______, (0.49,8.12)))
c_mp3_tag_array_2_wordline.add(gdstk.Reference(c_mp3_tag_array_2_contact_____, (0.4925,10.8525)))
c_mp3_tag_array_2_wordline.add(gdstk.Reference(c_mp3_tag_array_2_contact______, (0.4925,10.8525)))
c_mp3_tag_array_2_wordline.add(gdstk.Reference(c_mp3_tag_array_2_contact_______, (0.49,10.85)))
c_mp3_tag_array_2_wordline.add(gdstk.Reference(c_mp3_tag_array_2_contact_____, (0.4925,10.8525)))
c_mp3_tag_array_2_wordline.add(gdstk.Reference(c_mp3_tag_array_2_contact______, (0.4925,10.8525)))
c_mp3_tag_array_2_wordline.add(gdstk.Reference(c_mp3_tag_array_2_contact_______, (0.49,10.85)))
c_mp3_tag_array_2_wordline.add(gdstk.Reference(c_mp3_tag_array_2_contact_____, (0.4925,13.5825)))
c_mp3_tag_array_2_wordline.add(gdstk.Reference(c_mp3_tag_array_2_contact______, (0.4925,13.5825)))
c_mp3_tag_array_2_wordline.add(gdstk.Reference(c_mp3_tag_array_2_contact_______, (0.49,13.58)))
c_mp3_tag_array_2_wordline.add(gdstk.Reference(c_mp3_tag_array_2_contact_____, (0.4925,13.5825)))
c_mp3_tag_array_2_wordline.add(gdstk.Reference(c_mp3_tag_array_2_contact______, (0.4925,13.5825)))
c_mp3_tag_array_2_wordline.add(gdstk.Reference(c_mp3_tag_array_2_contact_______, (0.49,13.58)))
c_mp3_tag_array_2_wordline.add(gdstk.Reference(c_mp3_tag_array_2_contact_____, (0.4925,16.3125)))
c_mp3_tag_array_2_wordline.add(gdstk.Reference(c_mp3_tag_array_2_contact______, (0.4925,16.3125)))
c_mp3_tag_array_2_wordline.add(gdstk.Reference(c_mp3_tag_array_2_contact_______, (0.49,16.31)))
c_mp3_tag_array_2_wordline.add(gdstk.Reference(c_mp3_tag_array_2_contact_____, (0.4925,16.3125)))
c_mp3_tag_array_2_wordline.add(gdstk.Reference(c_mp3_tag_array_2_contact______, (0.4925,16.3125)))
c_mp3_tag_array_2_wordline.add(gdstk.Reference(c_mp3_tag_array_2_contact_______, (0.49,16.31)))
c_mp3_tag_array_2_wordline.add(gdstk.Reference(c_mp3_tag_array_2_contact_____, (0.4925,19.0425)))
c_mp3_tag_array_2_wordline.add(gdstk.Reference(c_mp3_tag_array_2_contact______, (0.4925,19.0425)))
c_mp3_tag_array_2_wordline.add(gdstk.Reference(c_mp3_tag_array_2_contact_______, (0.49,19.04)))
c_mp3_tag_array_2_wordline.add(gdstk.Reference(c_mp3_tag_array_2_contact_____, (0.4925,19.0425)))
c_mp3_tag_array_2_wordline.add(gdstk.Reference(c_mp3_tag_array_2_contact______, (0.4925,19.0425)))
c_mp3_tag_array_2_wordline.add(gdstk.Reference(c_mp3_tag_array_2_contact_______, (0.49,19.04)))
c_mp3_tag_array_2_wordline.add(gdstk.Reference(c_mp3_tag_array_2_contact_____, (0.4925,21.7725)))
c_mp3_tag_array_2_wordline.add(gdstk.Reference(c_mp3_tag_array_2_contact______, (0.4925,21.7725)))
c_mp3_tag_array_2_wordline.add(gdstk.Reference(c_mp3_tag_array_2_contact_______, (0.49,21.77)))
c_mp3_tag_array_2_wordline.add(gdstk.Label('en', (1.0075,10.92), layer=13, texttype=0))
c_mp3_tag_array_2_wordline.add(gdstk.Label('in_0', (0.7925,0.4275), layer=11, texttype=0))
c_mp3_tag_array_2_wordline.add(gdstk.Label('wl_0', (2.95,0.6275), layer=11, texttype=0))
c_mp3_tag_array_2_wordline.add(gdstk.Label('in_1', (0.7925,2.3025), layer=11, texttype=0))
c_mp3_tag_array_2_wordline.add(gdstk.Label('wl_1', (2.95,2.1025), layer=11, texttype=0))
c_mp3_tag_array_2_wordline.add(gdstk.Label('in_2', (0.7925,3.1575), layer=11, texttype=0))
c_mp3_tag_array_2_wordline.add(gdstk.Label('wl_2', (2.95,3.3575), layer=11, texttype=0))
c_mp3_tag_array_2_wordline.add(gdstk.Label('in_3', (0.7925,5.0325), layer=11, texttype=0))
c_mp3_tag_array_2_wordline.add(gdstk.Label('wl_3', (2.95,4.8325), layer=11, texttype=0))
c_mp3_tag_array_2_wordline.add(gdstk.Label('in_4', (0.7925,5.8875), layer=11, texttype=0))
c_mp3_tag_array_2_wordline.add(gdstk.Label('wl_4', (2.95,6.0875), layer=11, texttype=0))
c_mp3_tag_array_2_wordline.add(gdstk.Label('in_5', (0.7925,7.7625), layer=11, texttype=0))
c_mp3_tag_array_2_wordline.add(gdstk.Label('wl_5', (2.95,7.5625), layer=11, texttype=0))
c_mp3_tag_array_2_wordline.add(gdstk.Label('in_6', (0.7925,8.6175), layer=11, texttype=0))
c_mp3_tag_array_2_wordline.add(gdstk.Label('wl_6', (2.95,8.8175), layer=11, texttype=0))
c_mp3_tag_array_2_wordline.add(gdstk.Label('in_7', (0.7925,10.4925), layer=11, texttype=0))
c_mp3_tag_array_2_wordline.add(gdstk.Label('wl_7', (2.95,10.2925), layer=11, texttype=0))
c_mp3_tag_array_2_wordline.add(gdstk.Label('in_8', (0.7925,11.3475), layer=11, texttype=0))
c_mp3_tag_array_2_wordline.add(gdstk.Label('wl_8', (2.95,11.5475), layer=11, texttype=0))
c_mp3_tag_array_2_wordline.add(gdstk.Label('in_9', (0.7925,13.2225), layer=11, texttype=0))
c_mp3_tag_array_2_wordline.add(gdstk.Label('wl_9', (2.95,13.0225), layer=11, texttype=0))
c_mp3_tag_array_2_wordline.add(gdstk.Label('in_10', (0.7925,14.0775), layer=11, texttype=0))
c_mp3_tag_array_2_wordline.add(gdstk.Label('wl_10', (2.95,14.2775), layer=11, texttype=0))
c_mp3_tag_array_2_wordline.add(gdstk.Label('in_11', (0.7925,15.9525), layer=11, texttype=0))
c_mp3_tag_array_2_wordline.add(gdstk.Label('wl_11', (2.95,15.7525), layer=11, texttype=0))
c_mp3_tag_array_2_wordline.add(gdstk.Label('in_12', (0.7925,16.8075), layer=11, texttype=0))
c_mp3_tag_array_2_wordline.add(gdstk.Label('wl_12', (2.95,17.0075), layer=11, texttype=0))
c_mp3_tag_array_2_wordline.add(gdstk.Label('in_13', (0.7925,18.6825), layer=11, texttype=0))
c_mp3_tag_array_2_wordline.add(gdstk.Label('wl_13', (2.95,18.4825), layer=11, texttype=0))
c_mp3_tag_array_2_wordline.add(gdstk.Label('in_14', (0.7925,19.5375), layer=11, texttype=0))
c_mp3_tag_array_2_wordline.add(gdstk.Label('wl_14', (2.95,19.7375), layer=11, texttype=0))
c_mp3_tag_array_2_wordline.add(gdstk.Label('in_15', (0.7925,21.4125), layer=11, texttype=0))
c_mp3_tag_array_2_wordline.add(gdstk.Label('wl_15', (2.95,21.2125), layer=11, texttype=0))
c_mp3_tag_array_2_wordline.add(gdstk.Label('vdd', (4.35,10.92), layer=17, texttype=0))
c_mp3_tag_array_2_wordline.add(gdstk.Label('gnd', (0.56,10.92), layer=17, texttype=0))

lib.write_gds('mp3_tag_array_2_wordline_driver_array.gds')
